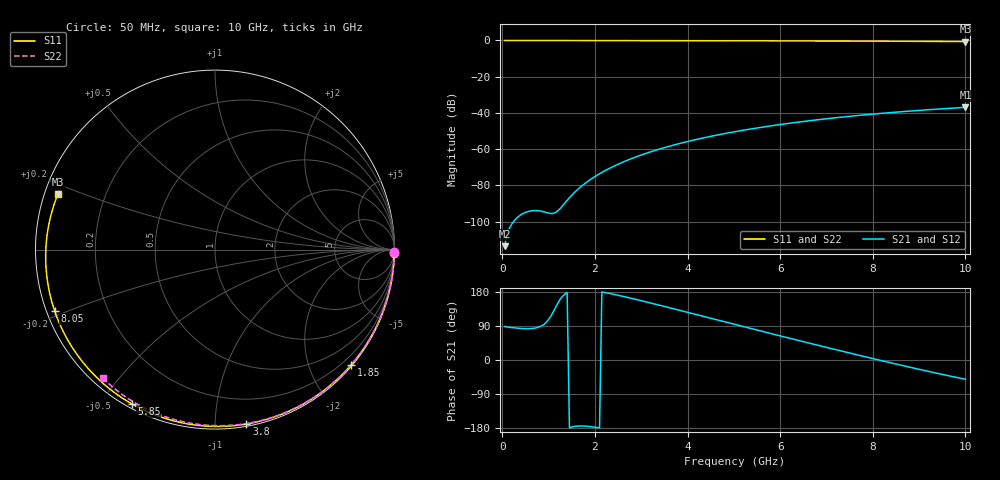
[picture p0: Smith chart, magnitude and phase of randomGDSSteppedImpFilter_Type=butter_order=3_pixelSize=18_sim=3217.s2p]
! freq	dB(S11)	phase(S11)	dB(S12)	phase(S12)
!  dB(S21)	phase(S21)	dB(S22)	phase(S22)
!S-par simulation data
#  GHz  S  DB  R 50
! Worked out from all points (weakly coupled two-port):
!   200 points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, 50 MHz to 10 GHz, reference 50 ohm
!   highest |S21| = -36.92 dB at 10 GHz (marker M1); lowest = -113.5 dB at 50 MHz (marker M2)
!   lowest |S11| = -0.6 dB at 10 GHz (marker M3), VSWR 26.91, Z = 1.91 + j8.51 ohm
!   |S11| at or under -10 dB: nowhere
!   |S22| runs from -0.4 to 0.0 dB; largest |S21 - S12| = 0
!   S11 on the Smith chart (normalised r, x): 50 MHz: open; 1.85 GHz: 0.03, -2.74; 3.8 GHz: 0.02, -1.20; 5.85 GHz: 0.02, -0.60; 8.05 GHz: 0.02, -0.18; 10 GHz: 0.04, +0.17
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0.05  -0.01 -1.1  -113.52 88.4  -113.52 88.4  -0.01 -0.7
0.45  -0.01 -9.9  -95.49 82.9  -95.49 82.9  -0.01 -6.8
0.85  -0.02 -18.7  -94.26 90.2  -94.26 90.2  -0.02 -12.8
1.25  -0.03 -27.3  -92.76 160.4  -92.76 160.4  -0.02 -18.8
1.7  -0.05 -36.9  -80.65 -174.1  -80.65 -174.1  -0.03 -25.4
1.75  -0.05 -38.0  -79.61 -174.2  -79.61 -174.2  -0.03 -26.1
1.85  -0.05 -40.1  -77.68 -175.1  -77.68 -175.1  -0.04 -27.6
2.15  -0.06 -46.4  -72.82 179.6  -72.82 179.6  -0.04 -32.0
2.5  -0.07 -53.7  -68.31 170.8  -68.31 170.8  -0.05 -37.0
2.9  -0.08 -61.9  -64.14 159.5  -64.14 159.5  -0.06 -42.7
3.4  -0.10 -71.9  -59.90 144.4  -59.90 144.4  -0.07 -49.7
3.8  -0.11 -79.8  -57.06 132.1  -57.06 132.1  -0.08 -55.3
4.4  -0.13 -91.3  -53.46 113.4  -53.46 113.4  -0.09 -63.4
5.05  -0.16 -103.6  -50.23 93.1  -50.23 93.1  -0.11 -72.0
5.85  -0.21 -118.4  -46.95 68.3  -46.95 68.3  -0.14 -82.3
6.7  -0.26 -134.0  -44.10 42.3  -44.10 42.3  -0.18 -92.8
7.4  -0.32 -146.9  -42.12 21.3  -42.12 21.3  -0.22 -101.2
8.05  -0.39 -159.1  -40.54 2.3  -40.54 2.3  -0.26 -108.9
8.35  -0.42 -164.9  -39.88 -6.4  -39.88 -6.4  -0.29 -112.3
9.2  -0.53 178.0  -38.23 -30.0  -38.23 -30.0  -0.36 -122.0
9.6  -0.58 169.5  -37.55 -40.7  -37.55 -40.7  -0.40 -126.5
10  -0.65 160.7  -36.92 -50.9  -36.92 -50.9  -0.44 -131.0
